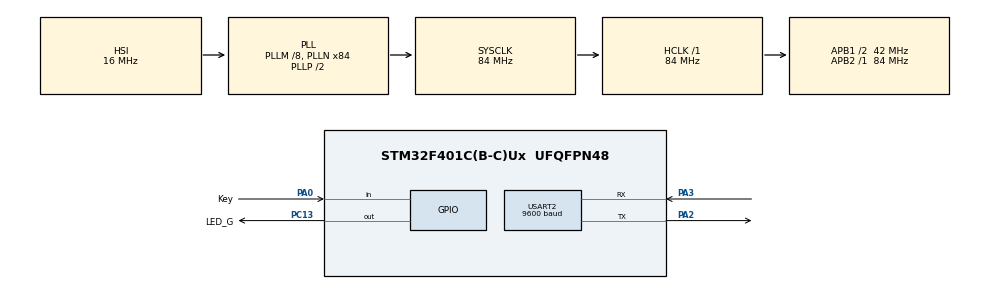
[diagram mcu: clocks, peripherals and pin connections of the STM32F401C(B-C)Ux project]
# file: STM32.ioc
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Mcu.Family=STM32F4
Mcu.Name=STM32F401C(B-C)Ux
Mcu.Package=UFQFPN48
NVIC.PriorityGroup=NVIC_PRIORITYGROUP_4
PA0-WKUP.GPIO_Label=Key
PA0-WKUP.GPIO_PuPd=GPIO_PULLUP
PA0-WKUP.Signal=GPIO_Input
PA13.Mode=Serial_Wire
PA13.Signal=SYS_JTMS-SWDIO
PA14.Mode=Serial_Wire
PA14.Signal=SYS_JTCK-SWCLK
PA2.Mode=Asynchronous
PA2.Signal=USART2_TX
PA3.Mode=Asynchronous
PA3.Signal=USART2_RX
PC13-ANTI_TAMP.GPIO_Label=LED_G
PC13-ANTI_TAMP.GPIO_ModeDefaultOutputPP=GPIO_MODE_OUTPUT_OD
PC13-ANTI_TAMP.GPIO_PuPd=GPIO_NOPULL
PC13-ANTI_TAMP.PinState=GPIO_PIN_SET
PC13-ANTI_TAMP.Signal=GPIO_Output
PC14-OSC32_IN.Mode=LSE-External-Oscillator
PC14-OSC32_IN.Signal=RCC_OSC32_IN
PC15-OSC32_OUT.Mode=LSE-External-Oscillator
PC15-OSC32_OUT.Signal=RCC_OSC32_OUT
PH0\ -\ OSC_IN.Mode=HSE-External-Oscillator
PH0\ -\ OSC_IN.Signal=RCC_OSC_IN
PH1\ -\ OSC_OUT.Mode=HSE-External-Oscillator
PH1\ -\ OSC_OUT.Signal=RCC_OSC_OUT
ProjectManager.HeapSize=0x200
ProjectManager.StackSize=0x400
ProjectManager.TargetToolchain=STM32CubeIDE
RCC.48MHZClocksFreq_Value=42000000
RCC.AHBFreq_Value=84000000
RCC.APB1CLKDivider=RCC_HCLK_DIV2
RCC.APB1Freq_Value=42000000
RCC.APB1TimFreq_Value=84000000
RCC.APB2Freq_Value=84000000
RCC.APB2TimFreq_Value=84000000
RCC.CortexFreq_Value=84000000
RCC.HCLKFreq_Value=84000000
RCC.HSE_VALUE=25000000
RCC.HSI_VALUE=16000000
RCC.PLLM=8
RCC.PLLN=84
RCC.SYSCLKFreq_VALUE=84000000
RCC.SYSCLKSource=RCC_SYSCLKSOURCE_PLLCLK
RCC.VCOOutputFreq_Value=168000000
USART2.BaudRate=9600
USART2.VirtualMode=VM_ASYNC
board=custom

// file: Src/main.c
/* USER CODE BEGIN Header */
/**
  ******************************************************************************
  * @file           : main.c
  * @brief          : Main program body
  ******************************************************************************
  * @attention
  *
  * Copyright (c) 2026 STMicroelectronics.
  * All rights reserved.
  *
  * This software is licensed under terms that can be found in the LICENSE file
  * in the root directory of this software component.
  * If no LICENSE file comes with this software, it is provided AS-IS.
  *
  ******************************************************************************
  */
/* USER CODE END Header */
#include "main.h"

/* USER CODE BEGIN PD */
#define UART_BUF_SIZE 1
#define UART_TIMEOUT_MS 100
/* USER CODE END PD */

UART_HandleTypeDef huart2;
uint8_t rxData[UART_BUF_SIZE] = {0};

void SystemClock_Config(void);
static void MX_GPIO_Init(void);
static void MX_USART2_UART_Init(void);
/* USER CODE BEGIN PFP */

void HAL_UART_RxCpltCallback(UART_HandleTypeDef *huart) {
  if(huart->Instance == USART2) {
    HAL_GPIO_TogglePin(LED_G_GPIO_Port, LED_G_Pin);
    HAL_UART_Receive_IT(&huart2, rxData, UART_BUF_SIZE);
  }
}

volatile uint8_t button_pressed = 0;  // global/file-scope

void HAL_GPIO_EXTI_Callback(uint16_t GPIO_Pin)
{
    if (GPIO_Pin == Key_Pin)
    {
        static uint32_t last_press_time = 0;
        uint32_t current_time = HAL_GetTick();
        if ((current_time - last_press_time) > DEBOUNCE_DELAY_MS)
        {
            if (HAL_GPIO_ReadPin(Key_GPIO_Port, Key_Pin) == GPIO_PIN_RESET)
            {
                button_pressed = 1;  // just set flag
            }
            last_press_time = current_time;
        }
    }
}

/* USER CODE END PFP */

int main(void)
{

  /* MCU Configuration--------------------------------------------------------*/

  /* Reset of all peripherals, Initializes the Flash interface and the Systick. */
  HAL_Init();

  /* Configure the system clock */
  SystemClock_Config();

  /* Initialize all configured peripherals */
  MX_GPIO_Init();
  MX_USART2_UART_Init();

  /* Infinite loop */
  /* USER CODE BEGIN WHILE */
  HAL_UART_Receive_IT(&huart2, rxData, UART_BUF_SIZE);
  while (1)
  {
    /* USER CODE END WHILE */
    /* USER CODE BEGIN 3 */
    if(button_pressed) {
      uint8_t data = 'T';
      HAL_UART_Transmit(&huart2, &data,1, HAL_MAX_DELAY);
      button_pressed = 0;
    }
  }
  /* USER CODE END 3 */
}

void SystemClock_Config(void)
{
  RCC_OscInitTypeDef RCC_OscInitStruct = {0};
  RCC_ClkInitTypeDef RCC_ClkInitStruct = {0};

  /** Configure the main internal regulator output voltage
  */
  __HAL_RCC_PWR_CLK_ENABLE();
  __HAL_PWR_VOLTAGESCALING_CONFIG(PWR_REGULATOR_VOLTAGE_SCALE2);

  /** Initializes the RCC Oscillators according to the specified parameters
  * in the RCC_OscInitTypeDef structure.
  */
  RCC_OscInitStruct.OscillatorType = RCC_OSCILLATORTYPE_HSI;
  RCC_OscInitStruct.HSIState = RCC_HSI_ON;
  RCC_OscInitStruct.HSICalibrationValue = RCC_HSICALIBRATION_DEFAULT;
  RCC_OscInitStruct.PLL.PLLState = RCC_PLL_ON;
  RCC_OscInitStruct.PLL.PLLSource = RCC_PLLSOURCE_HSI;
  RCC_OscInitStruct.PLL.PLLM = 8;
  RCC_OscInitStruct.PLL.PLLN = 84;
  RCC_OscInitStruct.PLL.PLLP = RCC_PLLP_DIV2;
  RCC_OscInitStruct.PLL.PLLQ = 4;
  if (HAL_RCC_OscConfig(&RCC_OscInitStruct) != HAL_OK)
  {
    Error_Handler();
  }

  /** Initializes the CPU, AHB and APB buses clocks
  */
  RCC_ClkInitStruct.ClockType = RCC_CLOCKTYPE_HCLK|RCC_CLOCKTYPE_SYSCLK
                              |RCC_CLOCKTYPE_PCLK1|RCC_CLOCKTYPE_PCLK2;
  RCC_ClkInitStruct.SYSCLKSource = RCC_SYSCLKSOURCE_PLLCLK;
  RCC_ClkInitStruct.AHBCLKDivider = RCC_SYSCLK_DIV1;
  RCC_ClkInitStruct.APB1CLKDivider = RCC_HCLK_DIV2;
  RCC_ClkInitStruct.APB2CLKDivider = RCC_HCLK_DIV1;

  if (HAL_RCC_ClockConfig(&RCC_ClkInitStruct, FLASH_LATENCY_2) != HAL_OK)
  {
    Error_Handler();
  }
}

static void MX_USART2_UART_Init(void)
{

  huart2.Instance = USART2;
  huart2.Init.BaudRate = 9600;
  huart2.Init.WordLength = UART_WORDLENGTH_8B;
  huart2.Init.StopBits = UART_STOPBITS_1;
  huart2.Init.Parity = UART_PARITY_NONE;
  huart2.Init.Mode = UART_MODE_TX_RX;
  huart2.Init.HwFlowCtl = UART_HWCONTROL_NONE;
  huart2.Init.OverSampling = UART_OVERSAMPLING_16;
  if (HAL_UART_Init(&huart2) != HAL_OK)
  {
    Error_Handler();
  }

}

static void MX_GPIO_Init(void)
{
  GPIO_InitTypeDef GPIO_InitStruct = {0};

  /* GPIO Ports Clock Enable */
  __HAL_RCC_GPIOC_CLK_ENABLE();
  __HAL_RCC_GPIOH_CLK_ENABLE();
  __HAL_RCC_GPIOA_CLK_ENABLE();

  /*Configure GPIO pin Output Level */
  HAL_GPIO_WritePin(LED_G_GPIO_Port, LED_G_Pin, GPIO_PIN_SET);

  /*Configure GPIO pin : LED_G_Pin */
  GPIO_InitStruct.Pin = LED_G_Pin;
  GPIO_InitStruct.Mode = GPIO_MODE_OUTPUT_PP;
  GPIO_InitStruct.Pull = GPIO_NOPULL;
  GPIO_InitStruct.Speed = GPIO_SPEED_FREQ_LOW;
  HAL_GPIO_Init(LED_G_GPIO_Port, &GPIO_InitStruct);

  /*Configure GPIO pin : Key_Pin */
  GPIO_InitStruct.Pin = Key_Pin;
  GPIO_InitStruct.Pull = GPIO_PULLUP;
  GPIO_InitStruct.Mode = GPIO_MODE_IT_FALLING;
  HAL_GPIO_Init(Key_GPIO_Port, &GPIO_InitStruct);

  /* USER CODE BEGIN MX_GPIO_Init_2 */
  HAL_NVIC_SetPriority(EXTI0_IRQn, 2, 0);
  HAL_NVIC_EnableIRQ(EXTI0_IRQn);

  /* USER CODE END MX_GPIO_Init_2 */
}

void Error_Handler(void)
{
  __disable_irq();
  while (1)
  {
  }
}
